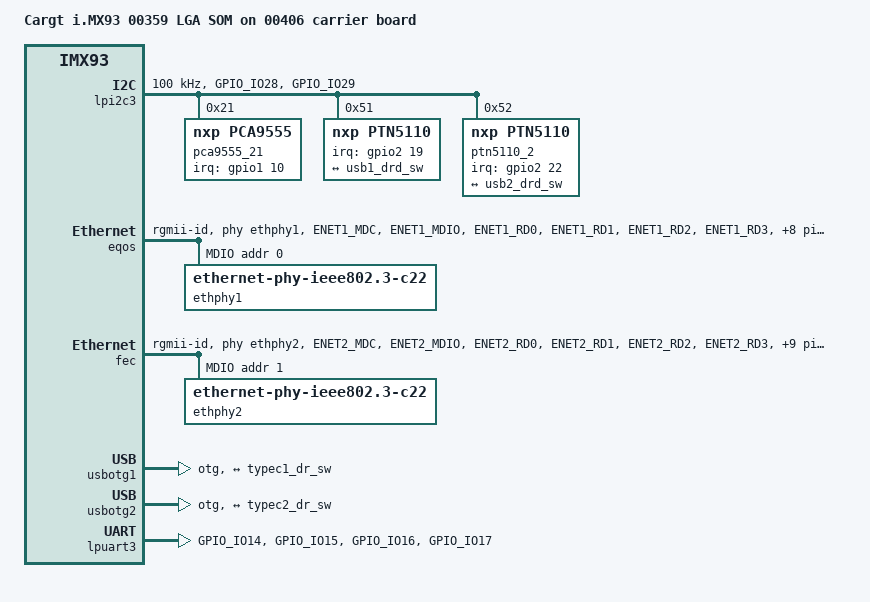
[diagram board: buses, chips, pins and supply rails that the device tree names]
// SPDX-License-Identifier: (GPL-2.0+ OR MIT)
/*
 * Copyright 2022 NXP
 */

/dts-v1/;

#include <dt-bindings/usb/pd.h>
#include "imx93-cargt-00359.dts"
 
/ {
	model = "Cargt i.MX93 00359 LGA SOM on 00406 carrier board";
};

&pmic {
	pinctrl-names = "default";
	pinctrl-0 = <&pinctrl_pmic>;
	interrupt-parent = <&gpio2>;			 // Not connected!
	interrupts = <18 IRQ_TYPE_EDGE_FALLING>; // Dummy interrupt to allow driver to load.
};

&lpi2c3 {
	#address-cells = <1>;
	#size-cells = <0>;
	clock-frequency = <100000>;
	pinctrl-names = "default", "sleep";
	pinctrl-0 = <&pinctrl_lpi2c3>;
	pinctrl-1 = <&pinctrl_lpi2c3>;
	status = "okay";

	pca9555_21: pca9555@21 {
		compatible = "nxp,pca9555";
		pinctrl-0 = <&pinctrl_pca21>;
		gpio-controller;
		#gpio-cells = <2>;
		reg = <0x21>;
		interrupt-parent = <&gpio1>;
		interrupts = <10 IRQ_TYPE_LEVEL_LOW>;		
		gpio-line-names =
			"pca9555_21-0",	"pca9555_21-1",	"pca9555_21-2",	"pca9555_21-3", 	// 0-3
			"pca9555_21-4",	"pca9555_21-5",	"pca9555_21-6",	"pca9555_21-7",		// 4-7
			"pca9555_21-8",	"pca9555_21-9",	"pca9555_21-10","pca9555_21-11", 	// 8-11
			"pca9555_21-12","pca9555_21-13","pca9555_21-14","pca9555_21-15"; 	// 12-15		
	};

	ptn5110: tcpc@51 {
		compatible = "nxp,ptn5110";
		reg = <0x51>;
		pinctrl-names = "default";
		pinctrl-0 = <&pinctrl_ptn5110_51>;
		interrupt-parent = <&gpio2>;
		interrupts = <19 IRQ_TYPE_LEVEL_LOW>;	
		status = "okay";

		port {
			typec1_dr_sw: endpoint {
				remote-endpoint = <&usb1_drd_sw>;
			};
		};

		typec1_con: connector {
			compatible = "usb-c-connector";
			label = "USB-C";
			power-role = "dual";
			data-role = "dual";
			try-power-role = "sink";
			source-pdos = <PDO_FIXED(5000, 3000, PDO_FIXED_USB_COMM)>;
			sink-pdos = <PDO_FIXED(5000, 3000, PDO_FIXED_USB_COMM)
					PDO_VAR(5000, 20000, 3000)>;
			op-sink-microwatt = <15000000>;
			self-powered;
		};
	};
 
	ptn5110_2: tcpc@52 {
		compatible = "nxp,ptn5110";
		reg = <0x52>;
		pinctrl-names = "default";
		pinctrl-0 = <&pinctrl_ptn5110_52>;
		interrupt-parent = <&gpio2>;
		interrupts = <22 IRQ_TYPE_LEVEL_LOW>;			
		status = "okay";

		port {
			typec2_dr_sw: endpoint {
				remote-endpoint = <&usb2_drd_sw>;
			};
		};

		typec2_con: connector {
			compatible = "usb-c-connector";
			label = "USB-C";
			power-role = "dual";
			data-role = "dual";
			try-power-role = "sink";
			source-pdos = <PDO_FIXED(5000, 3000, PDO_FIXED_USB_COMM)>;
			sink-pdos = <PDO_FIXED(5000, 3000, PDO_FIXED_USB_COMM)
					PDO_VAR(5000, 20000, 3000)>;
			op-sink-microwatt = <15000000>;
			self-powered;
		};
	};
};


&eqos {
	pinctrl-names = "default";
	pinctrl-0 = <&pinctrl_eqos>;
	phy-mode = "rgmii-id";
	phy-handle = <&ethphy1>;
	snps,reset-gpios = <&pca9555_21 10 GPIO_ACTIVE_LOW>;
	snps,reset-delays-us = <10 20 200000>;
	status = "okay";

	mdio {
		compatible = "snps,dwmac-mdio";
		#address-cells = <1>;
		#size-cells = <0>;
		clock-frequency = <5000000>;

		ethphy1: ethernet-phy@0 {
			compatible = "ethernet-phy-ieee802.3-c22";
			reg = <0>;
			eee-broken-1000t;
		};
	};
};

&fec {
	pinctrl-names = "default";
	pinctrl-0 = <&pinctrl_fec>;
	phy-mode = "rgmii-id";
	phy-handle = <&ethphy2>;
	fsl,magic-packet;
	phy-reset-gpios = <&pca9555_21 11 GPIO_ACTIVE_LOW>;
	phy-reset-duration = <10>;
	phy-reset-post-delay = <150>;
	status = "okay";

	mdio {
		#address-cells = <1>;
		#size-cells = <0>;
		clock-frequency = <5000000>;

		ethphy2: ethernet-phy@1 {
			compatible = "ethernet-phy-ieee802.3-c22";
			reg = <1>;
			eee-broken-1000t;
		};
	};
};
 
&usbotg1 {
	dr_mode = "otg";
	hnp-disable;
	srp-disable;
	adp-disable;
	usb-role-switch;
	disable-over-current;
	samsung,picophy-pre-emp-curr-control = <3>;
	samsung,picophy-dc-vol-level-adjust = <7>;
	status = "okay";

	port {
		usb1_drd_sw: endpoint {
			remote-endpoint = <&typec1_dr_sw>;
		};
	};
};
 
&usbotg2 {
	dr_mode = "otg";
	hnp-disable;
	srp-disable;
	adp-disable;
	usb-role-switch;
	disable-over-current;
	samsung,picophy-pre-emp-curr-control = <3>;
	samsung,picophy-dc-vol-level-adjust = <7>;
	status = "okay";

	port {
		usb2_drd_sw: endpoint {
			remote-endpoint = <&typec2_dr_sw>;
		};
	};
};

&lpuart3 { /* RS-232 */
	pinctrl-names = "default";
	pinctrl-0 = <&pinctrl_uart3>;
	uart-has-rtscts;
	status = "okay";
};

&iomuxc {
	
	pinctrl_eqos: eqosgrp {
		fsl,pins = <
			MX93_PAD_ENET1_MDC__ENET_QOS_MDC						0x57e
			MX93_PAD_ENET1_MDIO__ENET_QOS_MDIO						0x57e
			MX93_PAD_ENET1_RD0__ENET_QOS_RGMII_RD0					0x57e
			MX93_PAD_ENET1_RD1__ENET_QOS_RGMII_RD1					0x57e
			MX93_PAD_ENET1_RD2__ENET_QOS_RGMII_RD2					0x57e
			MX93_PAD_ENET1_RD3__ENET_QOS_RGMII_RD3					0x57e
			MX93_PAD_ENET1_RXC__CCM_ENET_QOS_CLOCK_GENERATE_RX_CLK	0x5fe
			MX93_PAD_ENET1_RX_CTL__ENET_QOS_RGMII_RX_CTL			0x57e
			MX93_PAD_ENET1_TD0__ENET_QOS_RGMII_TD0					0x57e
			MX93_PAD_ENET1_TD1__ENET_QOS_RGMII_TD1					0x57e
			MX93_PAD_ENET1_TD2__ENET_QOS_RGMII_TD2					0x57e
			MX93_PAD_ENET1_TD3__ENET_QOS_RGMII_TD3					0x57e
			MX93_PAD_ENET1_TXC__CCM_ENET_QOS_CLOCK_GENERATE_TX_CLK	0x5fe
			MX93_PAD_ENET1_TX_CTL__ENET_QOS_RGMII_TX_CTL			0x57e
		>;
	};

	pinctrl_fec: fecgrp {
		fsl,pins = <
			MX93_PAD_ENET2_MDC__ENET1_MDC			0x57e
			MX93_PAD_ENET2_MDIO__ENET1_MDIO			0x57e
			MX93_PAD_ENET2_RD0__ENET1_RGMII_RD0		0x57e
			MX93_PAD_ENET2_RD1__ENET1_RGMII_RD1		0x57e
			MX93_PAD_ENET2_RD2__ENET1_RGMII_RD2		0x57e
			MX93_PAD_ENET2_RD3__ENET1_RGMII_RD3		0x57e
			MX93_PAD_ENET2_RXC__ENET1_RGMII_RXC		0x5fe
			MX93_PAD_ENET2_RX_CTL__ENET1_RGMII_RX_CTL	0x57e
			MX93_PAD_ENET2_TD0__ENET1_RGMII_TD0		0x57e
			MX93_PAD_ENET2_TD1__ENET1_RGMII_TD1		0x57e
			MX93_PAD_ENET2_TD2__ENET1_RGMII_TD2		0x57e
			MX93_PAD_ENET2_TD3__ENET1_RGMII_TD3		0x57e
			MX93_PAD_ENET2_TXC__ENET1_RGMII_TXC		0x5fe
			MX93_PAD_ENET2_TX_CTL__ENET1_RGMII_TX_CTL	0x57e
		>;
	};

 	pinctrl_lpi2c3: lpi2c3grp {
		 fsl,pins = <
			 MX93_PAD_GPIO_IO28__LPI2C3_SDA			0x40000b9e
			 MX93_PAD_GPIO_IO29__LPI2C3_SCL			0x40000b9e
		 >;
	 };
 
	pinctrl_pca21: pca21grp {
		fsl,pins = <
			MX93_PAD_PDM_BIT_STREAM1__GPIO1_IO10 	0x31e
		>;
	};

	pinctrl_ptn5110_51: ptn5110_51grp {
		 fsl,pins = <
		 	MX93_PAD_GPIO_IO19__GPIO2_IO19			0x31e
			 >;
	 };

	pinctrl_ptn5110_52: ptn5110_52grp {
		 fsl,pins = <
			MX93_PAD_GPIO_IO22__GPIO2_IO22			0x31e
			 >;
	 };

	pinctrl_pmic: pmicgrp {
		fsl,pins = <
		   MX93_PAD_GPIO_IO18__GPIO2_IO18			0x31e 
		>;
	};
		 
	pinctrl_uart3: uart3grp {
		fsl,pins = <
			MX93_PAD_GPIO_IO14__LPUART3_TX			0x31e
			MX93_PAD_GPIO_IO15__LPUART3_RX			0x31e
			MX93_PAD_GPIO_IO16__LPUART3_CTS_B	  	0x31e
			MX93_PAD_GPIO_IO17__LPUART3_RTS_B	   	0x31e	
		>;
	};
};
 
